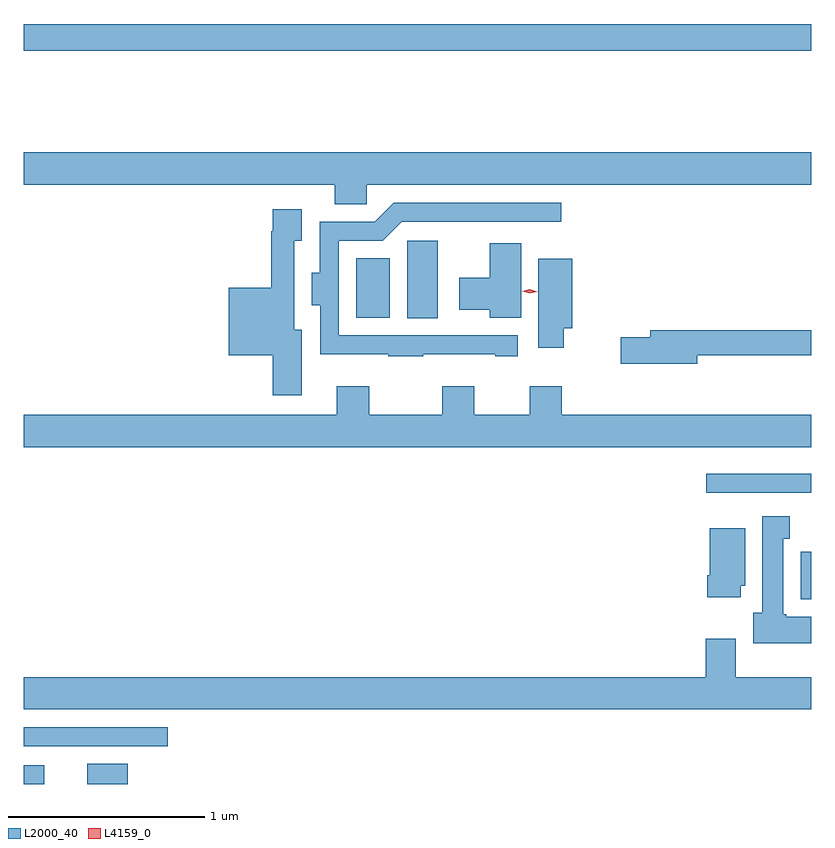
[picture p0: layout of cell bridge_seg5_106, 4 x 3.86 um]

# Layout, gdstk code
import gdstk
lib = gdstk.Library(unit=1e-6, precision=1e-09)
def R(c, l, rs):  # rectangles x0, y0, x1, y1
    for r in rs: c.add(gdstk.rectangle(r[:2], r[2:], *l))
def P(c, l, *ps):  # polygons
    for p in ps: c.add(gdstk.Polygon(p, *l))
L2000_40 = (2000, 40)
L4159_0 = (4159, 0)

bridge_seg5_106 = lib.new_cell('bridge_seg5_106')
R(bridge_seg5_106, L2000_40, [(576.334,875.029,576.439,875.125), (576.656,875.029,576.862,875.131), (576.334,875.22,577.066,875.316), (580.28,875.966,580.334,876.208), (579.801,876.507,580.334,876.604), (578.282,877.393,578.437,877.788), (578.024,877.397,578.194,877.699), (576.334,878.752,580.334,878.888)])
P(bridge_seg5_106, L2000_40, [(578.076,878.072),(580.334,878.072),(580.334,878.236),(576.334,878.236),(576.334,878.072),(577.913,878.072),(577.913,877.974),(578.076,877.974)],
  [(578.363,877.211),(578.729,877.211),(578.729,877.2),(578.842,877.2),(578.842,877.308),(577.935,877.308),(577.935,877.788),(578.157,877.788),(578.253,877.884),(579.064,877.884),(579.064,877.98),(578.214,877.98),(578.118,877.884),(577.838,877.884),(577.838,877.624),(577.796,877.624),(577.796,877.46),(577.839,877.46),(577.839,877.211),(578.185,877.211),(578.185,877.2),(578.363,877.2)],
  [(577.747,877.336),(577.707,877.336),(577.707,877.787),(577.747,877.787),(577.747,877.948),(577.599,877.948),(577.599,877.835),(577.591,877.835),(577.591,877.549),(577.376,877.549),(577.376,877.205),(577.598,877.205),(577.598,877.002),(577.747,877.002)],
  [(578.86,877.774),(578.702,877.774),(578.702,877.6),(578.547,877.6),(578.547,877.436),(578.702,877.436),(578.702,877.397),(578.86,877.397)],
  [(579.076,877.343),(579.119,877.343),(579.119,877.696),(578.948,877.696),(578.948,877.245),(579.076,877.245)],
  [(579.754,877.206),(580.334,877.206),(580.334,877.334),(579.515,877.334),(579.515,877.298),(579.366,877.298),(579.366,877.163),(579.754,877.163)],
  [(580.334,876.904),(579.067,876.904),(579.067,877.048),(578.903,877.048),(578.903,876.904),(578.623,876.904),(578.623,877.048),(578.459,877.048),(578.459,876.904),(578.089,876.904),(578.089,877.048),(577.925,877.048),(577.925,876.904),(576.334,876.904),(576.334,876.74),(580.334,876.74)],
  [(580.334,875.878),(580.206,875.878),(580.206,875.892),(580.192,875.892),(580.192,876.275),(580.225,876.275),(580.225,876.388),(580.085,876.388),(580.085,875.898),(580.04,875.898),(580.04,875.744),(580.334,875.744)],
  [(579.976,876.036),(579.997,876.036),(579.997,876.328),(579.818,876.328),(579.818,876.088),(579.806,876.088),(579.806,875.976),(579.976,875.976)],
  [(580.334,875.572),(579.949,875.572),(579.949,875.767),(579.797,875.767),(579.797,875.572),(576.334,875.572),(576.334,875.408),(580.334,875.408)])
P(bridge_seg5_106, L4159_0, [(578.903,877.52),(578.865,877.53),(578.864,877.53),(578.865,877.531),(578.904,877.54),(578.943,877.529),(578.943,877.529),(578.943,877.529)])

lib.write_gds('bridge_seg5_106.gds')
